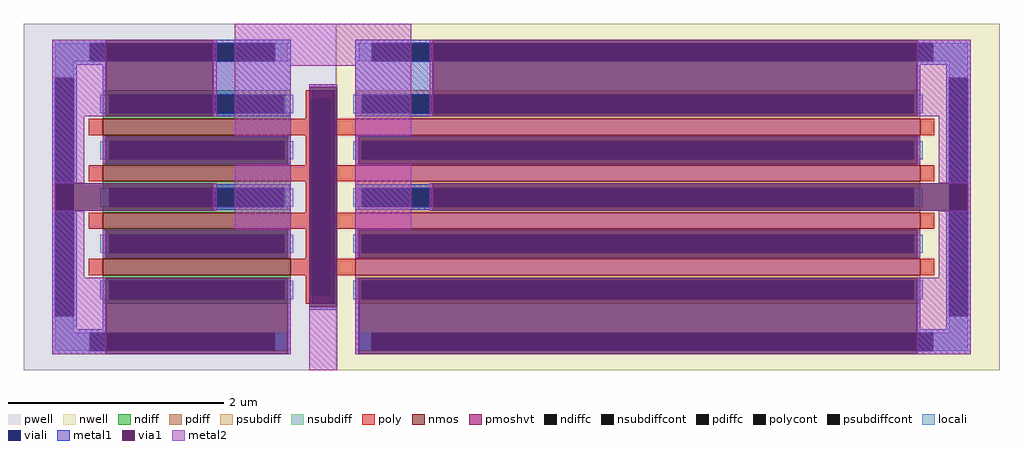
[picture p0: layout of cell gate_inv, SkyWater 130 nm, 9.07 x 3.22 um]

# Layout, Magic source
magic
tech sky130A
magscale 1 2
<< nwell >>
rect 594 0 1827 644
<< pwell >>
rect 13 0 594 644
<< nmos >>
rect 160 437 510 467
rect 160 351 510 381
rect 160 263 510 293
rect 160 177 510 207
<< pmoshvt >>
rect 630 437 1680 467
rect 630 351 1680 381
rect 630 263 1680 293
rect 630 177 1680 207
<< ndiff >>
rect 160 512 510 520
rect 160 478 172 512
rect 498 478 510 512
rect 160 467 510 478
rect 160 426 510 437
rect 160 392 172 426
rect 498 392 510 426
rect 160 381 510 392
rect 160 338 510 351
rect 160 304 172 338
rect 498 304 510 338
rect 160 293 510 304
rect 160 252 510 263
rect 160 218 172 252
rect 498 218 510 252
rect 160 207 510 218
rect 160 166 510 177
rect 160 132 172 166
rect 498 132 510 166
rect 160 124 510 132
<< pdiff >>
rect 630 512 1680 520
rect 630 478 642 512
rect 1668 478 1680 512
rect 630 467 1680 478
rect 630 426 1680 437
rect 630 392 642 426
rect 1668 392 1680 426
rect 630 381 1680 392
rect 630 338 1680 351
rect 630 304 642 338
rect 1668 304 1680 338
rect 630 293 1680 304
rect 630 252 1680 263
rect 630 218 642 252
rect 1668 218 1680 252
rect 630 207 1680 218
rect 630 166 1680 177
rect 630 132 642 166
rect 1668 132 1680 166
rect 630 124 1680 132
<< ndiffc >>
rect 172 478 498 512
rect 172 392 498 426
rect 172 304 498 338
rect 172 218 498 252
rect 172 132 498 166
<< pdiffc >>
rect 642 478 1668 512
rect 642 392 1668 426
rect 642 304 1668 338
rect 642 218 1668 252
rect 642 132 1668 166
<< psubdiff >>
rect 72 574 136 608
rect 480 574 504 608
rect 72 544 106 574
rect 72 70 106 100
rect 72 36 136 70
rect 480 36 504 70
<< nsubdiff >>
rect 636 574 660 608
rect 1704 574 1768 608
rect 1734 544 1768 574
rect 1734 70 1768 100
rect 636 36 660 70
rect 1704 36 1768 70
<< psubdiffcont >>
rect 136 574 480 608
rect 72 100 106 544
rect 136 36 480 70
<< nsubdiffcont >>
rect 660 574 1704 608
rect 1734 100 1768 544
rect 660 36 1704 70
<< poly >>
rect 538 504 592 520
rect 538 467 548 504
rect 134 437 160 467
rect 510 437 548 467
rect 538 381 548 437
rect 134 351 160 381
rect 510 351 548 381
rect 538 293 548 351
rect 134 263 160 293
rect 510 263 548 293
rect 538 207 548 263
rect 134 177 160 207
rect 510 177 548 207
rect 538 140 548 177
rect 582 467 592 504
rect 582 437 630 467
rect 1680 437 1706 467
rect 582 381 592 437
rect 582 351 630 381
rect 1680 351 1706 381
rect 582 293 592 351
rect 582 263 630 293
rect 1680 263 1706 293
rect 582 207 592 263
rect 582 177 630 207
rect 1680 177 1706 207
rect 582 140 592 177
rect 538 124 592 140
<< polycont >>
rect 548 140 582 504
<< locali >>
rect 72 574 136 608
rect 480 574 510 608
rect 630 574 660 608
rect 1704 574 1768 608
rect 72 544 106 574
rect 1734 544 1768 574
rect 156 478 172 512
rect 498 478 514 512
rect 548 504 550 520
rect 156 392 172 426
rect 498 392 514 426
rect 156 304 172 338
rect 498 304 514 338
rect 156 218 172 252
rect 498 218 514 252
rect 156 132 172 166
rect 498 132 514 166
rect 548 124 550 140
rect 590 124 592 520
rect 626 478 642 512
rect 1668 478 1684 512
rect 626 392 642 426
rect 1668 392 1684 426
rect 626 304 642 338
rect 1668 304 1684 338
rect 626 218 642 252
rect 1668 218 1684 252
rect 626 132 642 166
rect 1668 132 1684 166
rect 72 70 106 100
rect 1734 70 1768 100
rect 72 36 136 70
rect 480 36 510 70
rect 630 36 660 70
rect 1704 36 1768 70
<< viali >>
rect 136 574 480 608
rect 660 574 1704 608
rect 72 100 106 544
rect 172 478 498 512
rect 550 504 590 520
rect 172 392 498 426
rect 172 304 498 338
rect 172 218 498 252
rect 172 132 498 166
rect 550 140 582 504
rect 582 140 590 504
rect 550 124 590 140
rect 642 478 1668 512
rect 642 392 1668 426
rect 642 304 1668 338
rect 642 218 1668 252
rect 642 132 1668 166
rect 1734 100 1768 544
rect 136 36 480 70
rect 660 36 1704 70
<< metal1 >>
rect 66 608 166 614
rect 366 608 510 614
rect 66 574 136 608
rect 480 574 510 608
rect 66 568 166 574
rect 66 544 112 568
rect 66 100 72 544
rect 106 348 112 544
rect 160 472 166 568
rect 366 512 510 574
rect 630 608 774 614
rect 1674 608 1774 614
rect 630 574 660 608
rect 1704 574 1774 608
rect 498 478 510 512
rect 366 472 510 478
rect 544 526 596 532
rect 160 383 166 435
rect 504 383 510 435
rect 366 346 372 348
rect 366 338 510 346
rect 498 304 510 338
rect 366 298 510 304
rect 366 296 372 298
rect 106 100 112 296
rect 160 209 166 261
rect 504 209 510 261
rect 66 76 112 100
rect 160 76 166 172
rect 66 70 166 76
rect 66 36 136 70
rect 66 30 166 36
rect 504 30 510 172
rect 630 512 774 574
rect 1674 568 1774 574
rect 630 478 642 512
rect 630 472 774 478
rect 1674 472 1680 568
rect 1728 544 1774 568
rect 630 383 636 435
rect 1674 383 1680 435
rect 1728 348 1734 544
rect 768 346 774 348
rect 630 338 774 346
rect 630 304 642 338
rect 630 298 774 304
rect 768 296 774 298
rect 630 209 636 261
rect 1674 209 1680 261
rect 544 112 596 118
rect 630 30 636 172
rect 1674 76 1680 172
rect 1728 100 1734 296
rect 1768 100 1774 544
rect 1728 76 1774 100
rect 1674 70 1774 76
rect 1704 36 1774 70
rect 1674 30 1774 36
<< via1 >>
rect 166 608 366 614
rect 166 574 366 608
rect 166 512 366 574
rect 774 608 1674 614
rect 774 574 1674 608
rect 166 478 172 512
rect 172 478 366 512
rect 166 472 366 478
rect 544 520 596 526
rect 166 426 504 435
rect 166 392 172 426
rect 172 392 498 426
rect 498 392 504 426
rect 166 383 504 392
rect 72 296 106 348
rect 106 338 366 348
rect 106 304 172 338
rect 172 304 366 338
rect 106 296 366 304
rect 166 252 504 261
rect 166 218 172 252
rect 172 218 498 252
rect 498 218 504 252
rect 166 209 504 218
rect 166 166 504 172
rect 166 132 172 166
rect 172 132 498 166
rect 498 132 504 166
rect 166 70 504 132
rect 166 36 480 70
rect 480 36 504 70
rect 166 30 504 36
rect 544 124 550 520
rect 550 124 590 520
rect 590 124 596 520
rect 774 512 1674 574
rect 774 478 1668 512
rect 1668 478 1674 512
rect 774 472 1674 478
rect 636 426 1674 435
rect 636 392 642 426
rect 642 392 1668 426
rect 1668 392 1674 426
rect 636 383 1674 392
rect 774 338 1734 348
rect 774 304 1668 338
rect 1668 304 1734 338
rect 774 296 1734 304
rect 1734 296 1768 348
rect 636 252 1674 261
rect 636 218 642 252
rect 642 218 1668 252
rect 1668 218 1674 252
rect 636 209 1674 218
rect 544 118 596 124
rect 636 166 1674 172
rect 636 132 642 166
rect 642 132 1668 166
rect 1668 132 1674 166
rect 636 70 1674 132
rect 636 36 660 70
rect 660 36 1674 70
rect 636 30 1674 36
<< metal2 >>
rect 66 472 166 614
rect 366 472 372 614
rect 406 566 734 644
rect 66 348 126 472
rect 406 435 510 566
rect 160 383 166 435
rect 504 383 510 435
rect 66 296 72 348
rect 366 296 372 348
rect 66 172 126 296
rect 406 261 510 383
rect 160 209 166 261
rect 504 209 510 261
rect 544 526 596 532
rect 66 30 166 172
rect 504 30 510 172
rect 630 435 734 566
rect 768 472 774 614
rect 1674 472 1774 614
rect 630 383 636 435
rect 1674 383 1680 435
rect 630 261 734 383
rect 1714 348 1774 472
rect 768 296 774 348
rect 1768 296 1774 348
rect 630 209 636 261
rect 1674 209 1680 261
rect 1714 172 1774 296
rect 544 0 596 118
rect 630 30 636 172
rect 1674 30 1774 172
<< properties >>
string FIXED_BBOX 0 0 1840 644
<< end >>
